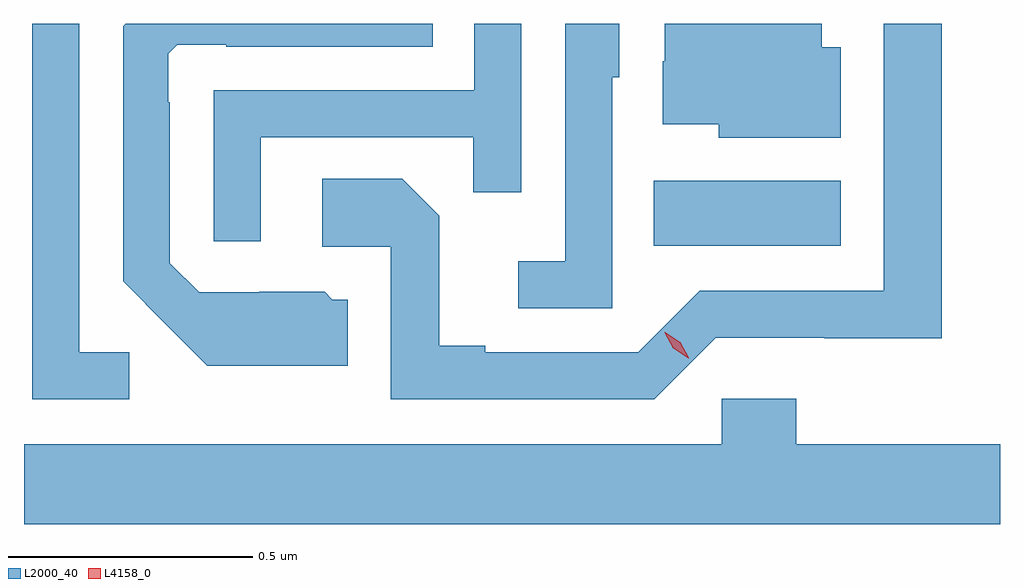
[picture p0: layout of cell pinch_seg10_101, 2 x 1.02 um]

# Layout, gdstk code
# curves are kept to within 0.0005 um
import gdstk
lib = gdstk.Library(unit=1e-6, precision=1e-09)
def R(c, l, rs):  # rectangles x0, y0, x1, y1
    for r in rs: c.add(gdstk.rectangle(r[:2], r[2:], *l))
def P(c, l, *ps):  # polygons
    for p in ps: c.add(gdstk.Polygon(p, *l))
L2000_40 = (2000, 40)
L4158_0 = (4158, 0)

pinch_seg10_101 = lib.new_cell('pinch_seg10_101')
R(pinch_seg10_101, L2000_40, [(715.234,1291.562,715.618,1291.696)])
P(pinch_seg10_101, L2000_40, [(714.607,1291.452),(714.576,1291.452),(714.56,1291.468),(714.426,1291.468),(714.426,1291.467),(714.303,1291.467),(714.243,1291.527),(714.243,1291.856),(714.24,1291.856),(714.24,1291.956),(714.258,1291.974),(714.358,1291.974),(714.358,1291.97),(714.782,1291.97),(714.782,1292.017),(714.152,1292.017),(714.147,1292.012),(714.147,1291.49),(714.319,1291.316),(714.607,1291.316)],
  [(715.149,1291.908),(715.164,1291.908),(715.164,1292.017),(715.053,1292.017),(715.053,1291.531),(714.957,1291.531),(714.957,1291.434),(715.149,1291.434)],
  [(714.16,1291.344),(714.057,1291.344),(714.057,1292.017),(713.961,1292.017),(713.961,1291.248),(714.16,1291.248)],
  [(714.429,1291.785),(714.865,1291.785),(714.865,1291.672),(714.963,1291.672),(714.963,1292.017),(714.867,1292.017),(714.867,1291.881),(714.333,1291.881),(714.333,1291.572),(714.429,1291.572)],
  [(715.618,1291.969),(715.579,1291.969),(715.579,1292.017),(715.257,1292.017),(715.257,1291.94),(715.253,1291.94),(715.253,1291.811),(715.368,1291.811),(715.368,1291.784),(715.618,1291.784)],
  [(715.362,1291.374),(715.584,1291.374),(715.584,1291.373),(715.825,1291.373),(715.825,1292.017),(715.706,1292.017),(715.706,1291.47),(715.329,1291.47),(715.203,1291.344),(714.889,1291.344),(714.889,1291.357),(714.795,1291.357),(714.795,1291.624),(714.719,1291.7),(714.555,1291.7),(714.555,1291.56),(714.696,1291.56),(714.696,1291.248),(715.236,1291.248)],
  [(715.944,1291.156),(715.526,1291.156),(715.526,1291.249),(715.374,1291.249),(715.374,1291.156),(713.944,1291.156),(713.944,1290.992),(715.944,1290.992)])
P(pinch_seg10_101, L4158_0, [(715.305,1291.332),(715.274,1291.352),(715.257,1291.384),(715.257,1291.385),(715.258,1291.385),(715.289,1291.365),(715.306,1291.333),(715.306,1291.332)])

lib.write_gds('pinch_seg10_101.gds')
